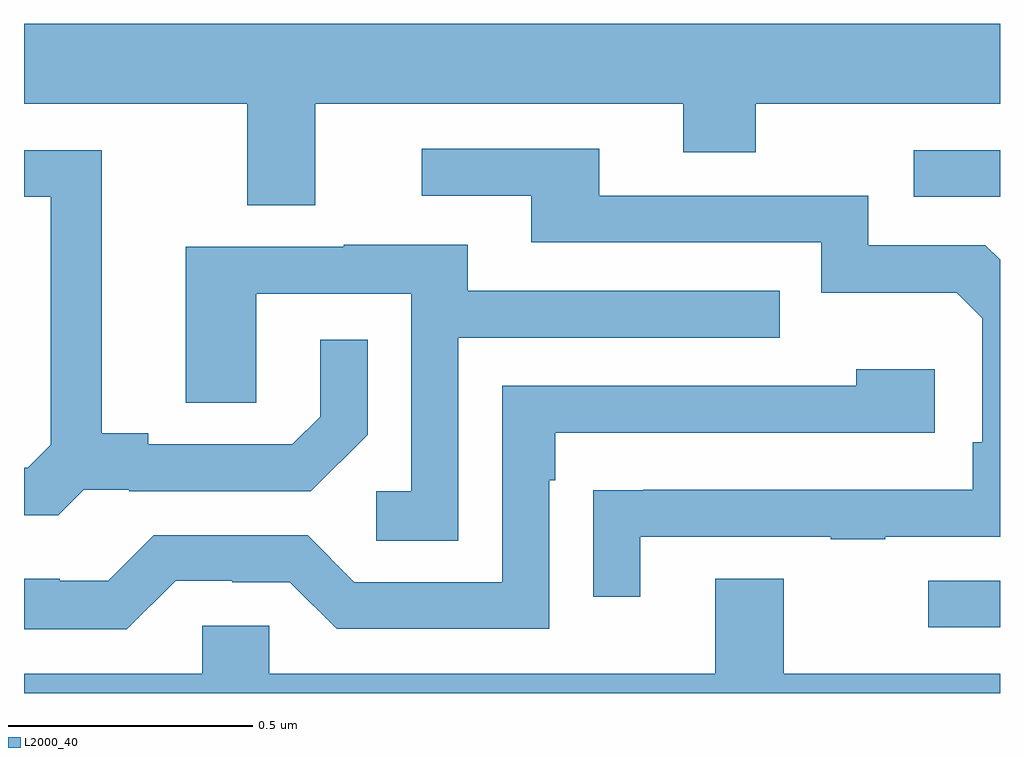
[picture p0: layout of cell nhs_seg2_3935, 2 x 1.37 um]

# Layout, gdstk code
import gdstk
lib = gdstk.Library(unit=1e-6, precision=1e-09)
def R(c, l, rs):  # rectangles x0, y0, x1, y1
    for r in rs: c.add(gdstk.rectangle(r[:2], r[2:], *l))
def P(c, l, *ps):  # polygons
    for p in ps: c.add(gdstk.Polygon(p, *l))
L2000_40 = (2000, 40)

nhs_seg2_3935 = lib.new_cell('nhs_seg2_3935')
R(nhs_seg2_3935, L2000_40, [(161.853,607.935,162,608.031), (161.823,608.817,162,608.913)])
P(nhs_seg2_3935, L2000_40, [(160.597,609.008),(161.351,609.008),(161.351,608.909),(161.499,608.909),(161.499,609.008),(162,609.008),(162,609.172),(160,609.172),(160,609.008),(160.457,609.008),(160.457,608.8),(160.597,608.8)],
  [(161.263,608.121),(161.653,608.121),(161.653,608.116),(161.765,608.116),(161.765,608.121),(162,608.121),(162,608.688),(161.97,608.718),(161.73,608.718),(161.73,608.82),(161.179,608.82),(161.179,608.916),(160.815,608.916),(160.815,608.82),(161.039,608.82),(161.039,608.724),(161.634,608.724),(161.634,608.621),(161.911,608.621),(161.964,608.568),(161.964,608.314),(161.944,608.314),(161.944,608.217),(161.269,608.217),(161.269,608.216),(161.167,608.216),(161.167,607.998),(161.263,607.998)],
  [(160.122,608.217),(160.216,608.217),(160.216,608.214),(160.588,608.214),(160.704,608.33),(160.704,608.524),(160.607,608.524),(160.607,608.367),(160.55,608.31),(160.255,608.31),(160.255,608.333),(160.159,608.333),(160.159,608.913),(160,608.913),(160,608.817),(160.055,608.817),(160.055,608.309),(160.008,608.262),(160,608.262),(160,608.165),(160.07,608.165)],
  [(160.89,608.529),(161.549,608.529),(161.549,608.625),(160.909,608.625),(160.909,608.719),(160.655,608.719),(160.655,608.715),(160.331,608.715),(160.331,608.395),(160.476,608.395),(160.476,608.619),(160.794,608.619),(160.794,608.214),(160.722,608.214),(160.722,608.113),(160.89,608.113)],
  [(160.311,608.031),(160.427,608.031),(160.427,608.028),(160.545,608.028),(160.641,607.932),(161.076,607.932),(161.076,608.237),(161.089,608.237),(161.089,608.334),(161.866,608.334),(161.866,608.464),(161.705,608.464),(161.705,608.43),(160.98,608.43),(160.98,608.028),(160.677,608.028),(160.581,608.124),(160.266,608.124),(160.173,608.031),(160.073,608.031),(160.073,608.035),(160,608.035),(160,607.931),(160.211,607.931)],
  [(162,607.84),(161.557,607.84),(161.557,608.035),(161.417,608.035),(161.417,607.84),(160.503,607.84),(160.503,607.938),(160.365,607.938),(160.365,607.84),(160,607.84),(160,607.8),(162,607.8)])

lib.write_gds('nhs_seg2_3935.gds')
